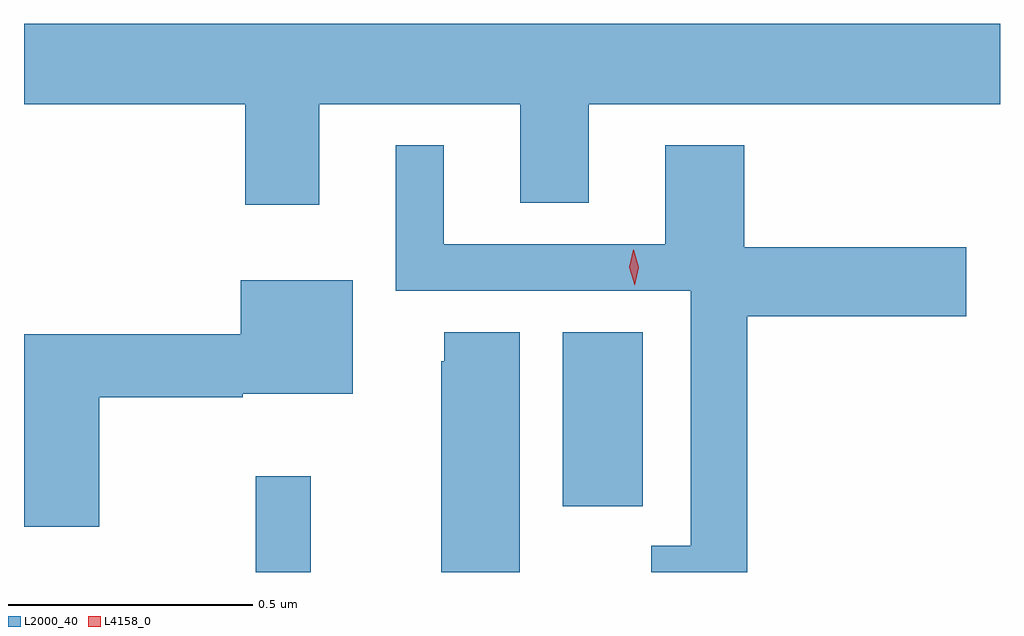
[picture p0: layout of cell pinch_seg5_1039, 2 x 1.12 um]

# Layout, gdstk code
import gdstk
lib = gdstk.Library(unit=1e-6, precision=1e-09)
def R(c, l, rs):  # rectangles x0, y0, x1, y1
    for r in rs: c.add(gdstk.rectangle(r[:2], r[2:], *l))
def P(c, l, *ps):  # polygons
    for p in ps: c.add(gdstk.Polygon(p, *l))
L2000_40 = (2000, 40)
L4158_0 = (4158, 0)

pinch_seg5_1039 = lib.new_cell('pinch_seg5_1039')
R(pinch_seg5_1039, L2000_40, [(725.715,839.817,725.828,840.013), (726.344,839.952,726.508,840.308)])
P(pinch_seg5_1039, L2000_40, [(725.24,840.776),(725.693,840.776),(725.693,840.57),(725.845,840.57),(725.845,840.776),(726.257,840.776),(726.257,840.574),(726.397,840.574),(726.397,840.776),(727.24,840.776),(727.24,840.94),(725.24,840.94)],
  [(726.722,840.341),(727.171,840.341),(727.171,840.483),(726.716,840.483),(726.716,840.691),(726.554,840.691),(726.554,840.489),(726.1,840.489),(726.1,840.691),(726.002,840.691),(726.002,840.393),(726.606,840.393),(726.606,839.871),(726.525,839.871),(726.525,839.817),(726.722,839.817)],
  [(725.394,840.175),(725.688,840.175),(725.688,840.182),(725.914,840.182),(725.914,840.415),(725.684,840.415),(725.684,840.304),(725.24,840.304),(725.24,839.91),(725.394,839.91)],
  [(726.256,840.308),(726.101,840.308),(726.101,840.249),(726.095,840.249),(726.095,839.817),(726.256,839.817)])
P(pinch_seg5_1039, L4158_0, [(726.492,840.405),(726.492,840.405),(726.48,840.441),(726.488,840.477),(726.489,840.477),(726.489,840.477),(726.5,840.442),(726.492,840.405)])

lib.write_gds('pinch_seg5_1039.gds')
